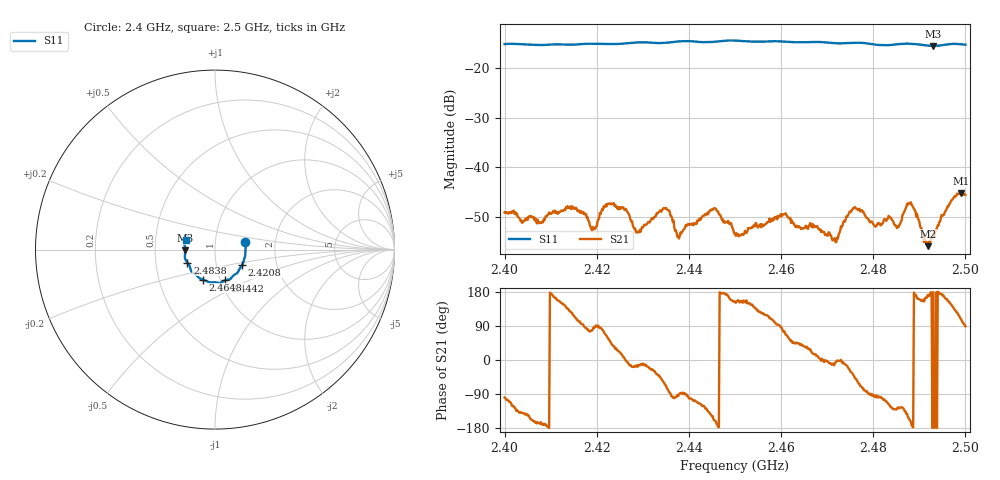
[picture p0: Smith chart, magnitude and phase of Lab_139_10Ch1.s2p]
# Hz S RI R 50
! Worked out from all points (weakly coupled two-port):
!   601 points, 2.4 GHz to 2.5 GHz, reference 50 ohm
!   highest |S21| = -45.21 dB at 2.499 GHz (marker M1); lowest = -55.8 dB at 2.4918 GHz (marker M2)
!   lowest |S11| = -15.6 dB at 2.493 GHz (marker M3), VSWR 1.40, Z = 35.8 - j0.211 ohm
!   |S11| at or under -10 dB: start of sweep to end of sweep
!   S12 and S22 are empty: the file has one direction only
!   S11 on the Smith chart (normalised r, x): 2.4 GHz: 1.40, +0.12; 2.4208 GHz: 1.33, -0.24; 2.4442 GHz: 1.05, -0.37; 2.4648 GHz: 0.83, -0.29; 2.4838 GHz: 0.73, -0.11; 2.5 GHz: 0.72, +0.08
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2.4e9  0.1677 0.0412  -0.00055 -0.00349  0 0  0 0
2.416667e9  0.159 -0.068  -0.000338 0.00349  0 0  0 0
2.419167e9  0.1542 -0.0811  0.000372 0.0025  0 0  0 0
2.420833e9  0.1506 -0.087  0.000263 0.0034  0 0  0 0
2.425833e9  0.1335 -0.1132  0.00389 0.000527  0 0  0 0
2.429e9  0.1271 -0.1272  0.00217 -0.000517  0 0  0 0
2.433333e9  0.1078 -0.1404  0.00267 -0.0023  0 0  0 0
2.437833e9  0.0887 -0.1615  -4.18e-05 -0.00193  0 0  0 0
2.444167e9  0.0568 -0.1716  -0.00241 -0.00239  0 0  0 0
2.45e9  0.0247 -0.1859  -0.00193 0.000962  0 0  0 0
2.4605e9  -0.0377 -0.1795  0.000895 0.00327  0 0  0 0
2.464833e9  -0.0684 -0.1669  0.00194 0.00149  0 0  0 0
2.466667e9  -0.0799 -0.1628  0.00237 0.000843  0 0  0 0
2.4715e9  -0.0993 -0.1463  0.00181 -0.000457  0 0  0 0
2.475833e9  -0.1268 -0.125  0.00288 -0.00268  0 0  0 0
2.483333e9  -0.1505 -0.0763  -0.00147 -0.00291  0 0  0 0
2.483833e9  -0.1534 -0.0721  -0.00172 -0.0026  0 0  0 0
2.488167e9  -0.1675 -0.0472  -0.00429 -0.00124  0 0  0 0
2.491833e9  -0.1663 -0.0169  -0.0016 0.000239  0 0  0 0
2.493e9  -0.1658 -0.00287  -0.00209 2.47e-05  0 0  0 0
2.499e9  -0.1662 0.0452  -0.00181 0.00518  0 0  0 0
2.5e9  -0.162 0.053  9.78e-05 0.00532  0 0  0 0
